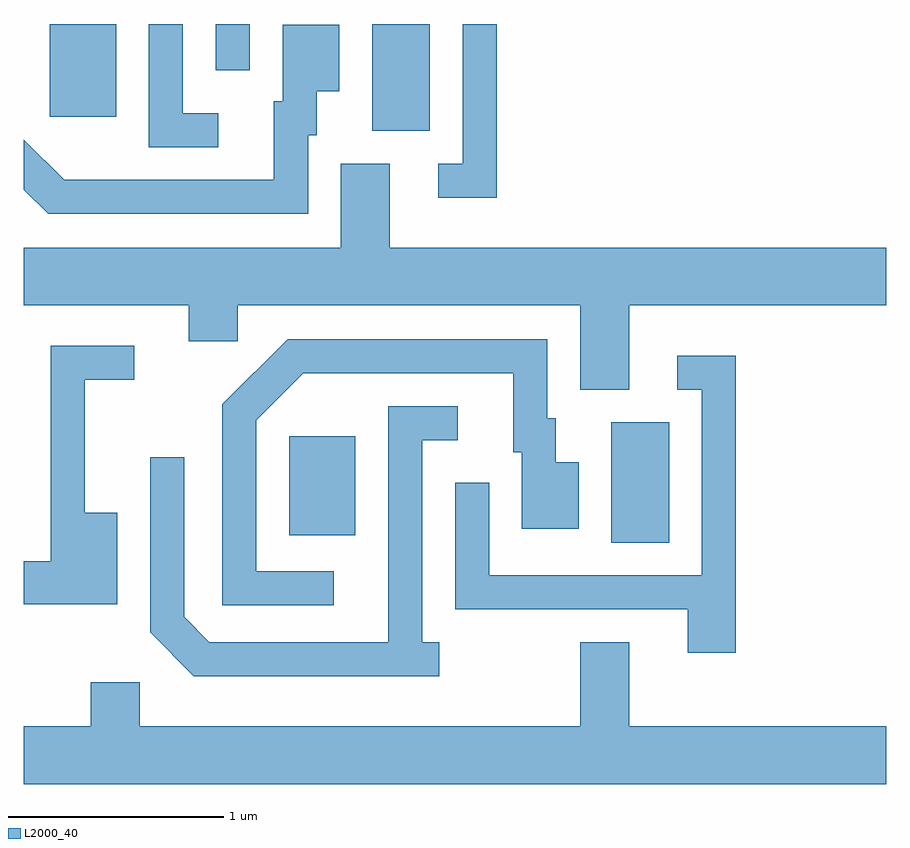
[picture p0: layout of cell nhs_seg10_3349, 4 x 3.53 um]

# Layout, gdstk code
import gdstk
lib = gdstk.Library(unit=1e-6, precision=1e-09)
def R(c, l, rs):  # rectangles x0, y0, x1, y1
    for r in rs: c.add(gdstk.rectangle(r[:2], r[2:], *l))
def P(c, l, *ps):  # polygons
    for p in ps: c.add(gdstk.Polygon(p, *l))
L2000_40 = (2000, 40)

nhs_seg10_3349 = lib.new_cell('nhs_seg10_3349')
R(nhs_seg10_3349, L2000_40, [(286.336,2146.116,286.604,2146.674), (284.841,2146.151,285.149,2146.609), (285.226,2148.026,285.494,2148.522), (283.731,2148.091,284.039,2148.522), (284.501,2148.308,284.659,2148.522)])
P(nhs_seg10_3349, L2000_40, [(285.804,2148.522),(285.646,2148.522),(285.646,2147.874),(285.533,2147.874),(285.533,2147.716),(285.804,2147.716)],
  [(284.513,2148.109),(284.349,2148.109),(284.349,2148.522),(284.191,2148.522),(284.191,2147.951),(284.513,2147.951)],
  [(284.929,2148.006),(284.969,2148.006),(284.969,2148.211),(285.074,2148.211),(285.074,2148.519),(284.811,2148.519),(284.811,2148.164),(284.771,2148.164),(284.771,2147.799),(283.797,2147.799),(283.611,2147.985),(283.611,2147.754),(283.724,2147.641),(284.929,2147.641)],
  [(283.611,2147.216),(284.376,2147.216),(284.376,2147.051),(284.604,2147.051),(284.604,2147.216),(286.191,2147.216),(286.191,2146.826),(286.419,2146.826),(286.419,2147.216),(287.611,2147.216),(287.611,2147.484),(285.309,2147.484),(285.309,2147.874),(285.081,2147.874),(285.081,2147.484),(283.611,2147.484)],
  [(285.048,2145.984),(284.689,2145.984),(284.689,2146.684),(284.907,2146.901),(285.881,2146.901),(285.881,2146.536),(285.921,2146.536),(285.921,2146.181),(286.184,2146.181),(286.184,2146.489),(286.079,2146.489),(286.079,2146.694),(286.039,2146.694),(286.039,2147.059),(284.834,2147.059),(284.531,2146.757),(284.531,2145.826),(285.048,2145.826)],
  [(284.044,2146.254),(283.894,2146.254),(283.894,2146.871),(284.123,2146.871),(284.123,2147.029),(283.736,2147.029),(283.736,2146.029),(283.611,2146.029),(283.611,2145.831),(284.044,2145.831)],
  [(286.914,2146.984),(286.643,2146.984),(286.643,2146.826),(286.756,2146.826),(286.756,2145.964),(285.769,2145.964),(285.769,2146.393),(285.611,2146.393),(285.611,2145.806),(286.691,2145.806),(286.691,2145.606),(286.914,2145.606)],
  [(285.538,2145.654),(285.459,2145.654),(285.459,2146.591),(285.623,2146.591),(285.623,2146.749),(285.301,2146.749),(285.301,2145.654),(284.472,2145.654),(284.354,2145.772),(284.354,2146.513),(284.196,2146.513),(284.196,2145.699),(284.399,2145.496),(285.538,2145.496)],
  [(287.611,2145.264),(286.419,2145.264),(286.419,2145.654),(286.191,2145.654),(286.191,2145.264),(284.149,2145.264),(284.149,2145.469),(283.921,2145.469),(283.921,2145.264),(283.611,2145.264),(283.611,2144.996),(287.611,2144.996)])

lib.write_gds('nhs_seg10_3349.gds')
